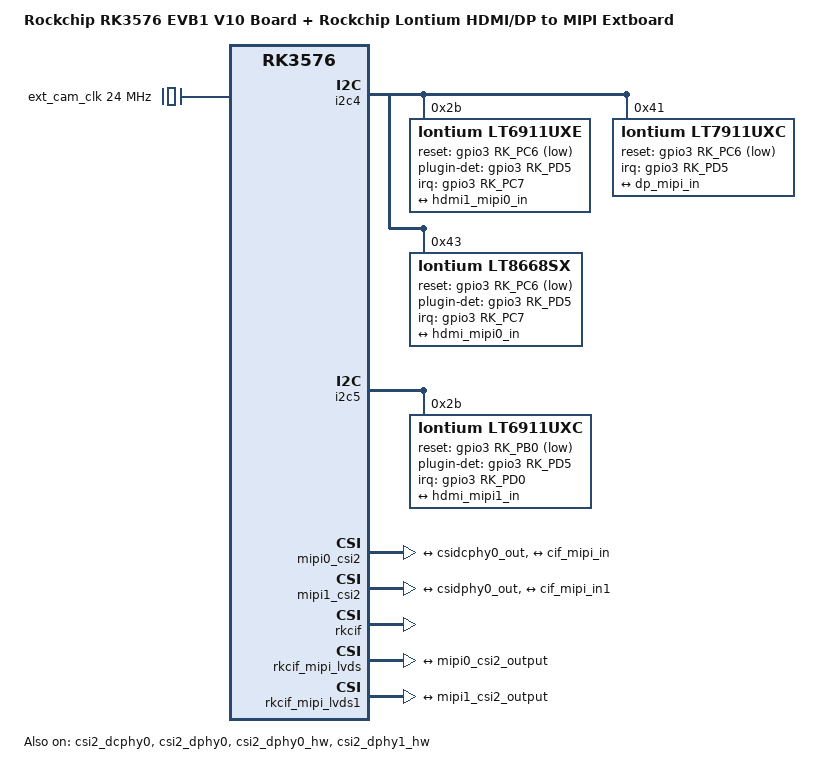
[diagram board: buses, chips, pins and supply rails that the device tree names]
// SPDX-License-Identifier: (GPL-2.0+ OR MIT)
/*
 * Copyright (c) 2024 Rockchip Electronics Co., Ltd.
 *
 */

/dts-v1/;

#include "rk3576.dtsi"
#include "rk3576-evb1.dtsi"
#include "rk3576-android.dtsi"

/ {
	model = "Rockchip RK3576 EVB1 V10 Board + Rockchip Lontium HDMI/DP to MIPI Extboard";
	compatible = "rockchip,rk3576-evb1-v10", "rockchip,rk3576";

	ext_cam_clk: external-camera-clock {
		compatible = "fixed-clock";
		clock-frequency = <24000000>;
		clock-output-names = "CLK_CAMERA_24MHZ";
		#clock-cells = <0>;
	};

	rkvtunnel: rkvtunnel {
		compatible = "rockchip,video-tunnel";
		status = "okay";
	};
};

&csi2_dcphy0 {
	status = "okay";

	ports {
		#address-cells = <1>;
		#size-cells = <0>;
		port@0 {
			reg = <0>;
			#address-cells = <1>;
			#size-cells = <0>;

			dp_mipi_in: endpoint@1 {
				reg = <1>;
				remote-endpoint = <&lt7911uxc_out>;
				data-lanes = <1 2 3 4>;
			};

			hdmi_mipi0_in: endpoint@2 {
				reg = <2>;
				remote-endpoint = <&lt8668sx_out0>;
				data-lanes = <1 2 3>;
			};

			hdmi1_mipi0_in: endpoint@3 {
				reg = <3>;
				remote-endpoint = <&lt6911uxe_out0>;
				data-lanes = <1 2 3 4>;
			};
		};

		port@1 {
			reg = <1>;
			#address-cells = <1>;
			#size-cells = <0>;

			csidcphy0_out: endpoint@0 {
				reg = <0>;
				remote-endpoint = <&mipi0_csi2_input>;
			};
		};
	};
};

&csi2_dphy0 {
	status = "okay";

	ports {
		#address-cells = <1>;
		#size-cells = <0>;
		port@0 {
			reg = <0>;
			#address-cells = <1>;
			#size-cells = <0>;

			hdmi_mipi1_in: endpoint@1 {
				reg = <1>;
				remote-endpoint = <&lt6911uxc_out0>;
				data-lanes = <1 2 3 4>;
			};
		};
		port@1 {
			reg = <1>;
			#address-cells = <1>;
			#size-cells = <0>;

			csidphy0_out: endpoint@0 {
				reg = <0>;
				remote-endpoint = <&mipi1_csi2_input>;
			};
		};
	};
};

&csi2_dphy0_hw {
	status = "okay";
};

&csi2_dphy1_hw {
	status = "okay";
};

&i2c4 {
	status = "okay";
	pinctrl-0 = <&i2c4m3_xfer>;

	lt6911uxe: lt6911uxe@2b {
		compatible = "lontium,lt6911uxe";
		status = "okay";
		reg = <0x2b>;
		clocks = <&ext_cam_clk>;
		clock-names = "xvclk";
		power-domains = <&power RK3576_PD_VI>;
		pinctrl-names = "default";
		pinctrl-0 = <&hdmiin_port0>;
		interrupt-parent = <&gpio3>;
		interrupts = <RK_PC7 IRQ_TYPE_LEVEL_LOW>;
		reset-gpios = <&gpio3 RK_PC6 GPIO_ACTIVE_LOW>;
		// power-gpios = <&gpio1 RK_PA6 GPIO_ACTIVE_HIGH>;
		plugin-det-gpios = <&gpio3 RK_PD5 GPIO_ACTIVE_HIGH>;
		rockchip,camera-module-index = <0>;
		rockchip,camera-module-facing = "back";
		rockchip,camera-module-name = "HDMI-MIPI0";
		rockchip,camera-module-lens-name = "LT6911UXE";

		port {
			lt6911uxe_out0: endpoint {
				remote-endpoint = <&hdmi1_mipi0_in>;
				data-lanes = <1 2 3 4>;
			};
		};
	};

	lt7911uxc: lt7911uxc@41 {
		compatible = "lontium,lt7911uxc";
		status = "okay";
		reg = <0x41>;
		clocks = <&ext_cam_clk>;
		clock-names = "xvclk";
		power-domains = <&power RK3576_PD_VI>;
		pinctrl-names = "default";
		pinctrl-0 = <&hdmiin_port0>;
		interrupt-parent = <&gpio3>;
		interrupts = <RK_PD5 IRQ_TYPE_EDGE_RISING>;
		reset-gpios = <&gpio3 RK_PC6 GPIO_ACTIVE_LOW>;
		// power-gpios = <&gpio1 RK_PA6 GPIO_ACTIVE_HIGH>;
		// plugin-det-gpios = <&gpio0 RK_PD6 GPIO_ACTIVE_LOW>;
		rockchip,camera-module-index = <0>;
		rockchip,camera-module-facing = "back";
		rockchip,camera-module-name = "HDMI-MIPI0";
		rockchip,camera-module-lens-name = "LT7911UXC";

		port {
			lt7911uxc_out: endpoint {
				remote-endpoint = <&dp_mipi_in>;
				// bus-type = <1>;//CPHY: 1, DPHY: 4 or default
				data-lanes = <1 2 3 4>;
			};
		};
	};

	lt8668sx: lt8668sx@43 {
		compatible = "lontium,lt8668sx";
		status = "okay";
		reg = <0x43>;
		clocks = <&ext_cam_clk>;
		clock-names = "xvclk";
		power-domains = <&power RK3576_PD_VI>;
		pinctrl-names = "default";
		pinctrl-0 = <&hdmiin_port0>;
		interrupt-parent = <&gpio3>;
		interrupts = <RK_PC7 IRQ_TYPE_EDGE_RISING>;
		reset-gpios = <&gpio3 RK_PC6 GPIO_ACTIVE_LOW>;
		// power-gpios = <&gpio1 RK_PA6 GPIO_ACTIVE_HIGH>;
		plugin-det-gpios = <&gpio3 RK_PD5 GPIO_ACTIVE_HIGH>;
		rockchip,camera-module-index = <0>;
		rockchip,camera-module-facing = "back";
		rockchip,camera-module-name = "HDMI-MIPI0";
		rockchip,camera-module-lens-name = "LT8668SX";
		// output-rgb = <1>;

		port {
			lt8668sx_out0: endpoint {
				remote-endpoint = <&hdmi_mipi0_in>;
				bus-type = <1>;//CPHY: 1, DPHY: 4 or default
				data-lanes = <1 2 3>;//CPHY: 3trios DPHY: 4lanes
			};
		};
	};
};

&i2c5 {
	status = "okay";
	pinctrl-0 = <&i2c5m3_xfer>;

	lt6911uxc: lt6911uxc@2b {
		compatible = "lontium,lt6911uxc";
		status = "okay";
		reg = <0x2b>;
		clocks = <&ext_cam_clk>;
		clock-names = "xvclk";
		power-domains = <&power RK3576_PD_VI>;
		pinctrl-names = "default";
		pinctrl-0 = <&hdmiin_port1>;
		interrupt-parent = <&gpio3>;
		interrupts = <RK_PD0 IRQ_TYPE_LEVEL_LOW>;
		reset-gpios = <&gpio3 RK_PB0 GPIO_ACTIVE_LOW>;
		// power-gpios = <&gpio1 RK_PA6 GPIO_ACTIVE_HIGH>;
		plugin-det-gpios = <&gpio3 RK_PD5 GPIO_ACTIVE_HIGH>;
		rockchip,camera-module-index = <0>;
		rockchip,camera-module-facing = "back";
		rockchip,camera-module-name = "HDMI-MIPI1";
		rockchip,camera-module-lens-name = "LT6911UXC";

		multi-dev-info {
			dev-idx-l = <1>;
			dev-idx-r = <3>;
			combine-idx = <3>;
			pixel-offset = <0>;
			dev-num = <2>;
		};

		port {
			lt6911uxc_out0: endpoint {
				remote-endpoint = <&hdmi_mipi1_in>;
				data-lanes = <1 2 3 4>;
			};
		};
	};
};

&mipi0_csi2 {
	status = "okay";

	ports {
		#address-cells = <1>;
		#size-cells = <0>;

		port@0 {
			reg = <0>;
			#address-cells = <1>;
			#size-cells = <0>;

			mipi0_csi2_input: endpoint@1 {
				reg = <1>;
				remote-endpoint = <&csidcphy0_out>;
			};
		};

		port@1 {
			reg = <1>;
			#address-cells = <1>;
			#size-cells = <0>;

			mipi0_csi2_output: endpoint@0 {
				reg = <0>;
				remote-endpoint = <&cif_mipi_in>;
			};
		};
	};
};

&mipi1_csi2 {
	status = "okay";

	ports {
		#address-cells = <1>;
		#size-cells = <0>;

		port@0 {
			reg = <0>;
			#address-cells = <1>;
			#size-cells = <0>;

			mipi1_csi2_input: endpoint@1 {
				reg = <1>;
				remote-endpoint = <&csidphy0_out>;
			};
		};

		port@1 {
			reg = <1>;
			#address-cells = <1>;
			#size-cells = <0>;

			mipi1_csi2_output: endpoint@0 {
				reg = <0>;
				remote-endpoint = <&cif_mipi_in1>;
			};
		};
	};
};

&rkcif {
	status = "okay";
};

&rkcif_mipi_lvds {
	status = "okay";

	port {
		cif_mipi_in: endpoint {
			remote-endpoint = <&mipi0_csi2_output>;
		};
	};
};

&rkcif_mipi_lvds1 {
	status = "okay";

	port {
		cif_mipi_in1: endpoint {
			remote-endpoint = <&mipi1_csi2_output>;
		};
	};
};

&rkcif_mmu {
	status = "okay";
};

&vcc_mipicsi0 {
	/delete-property/ gpio;
	/delete-property/ pinctrl-0;
};

&vcc_mipicsi1 {
	/delete-property/ gpio;
	/delete-property/ pinctrl-0;
};

&vcc_mipidcphy0 {
	/delete-property/ gpio;
	/delete-property/ pinctrl-0;
};

&pinctrl {
	hdmiin {
		hdmiin_port0: hdmiin-port0 {
			rockchip,pins = <3 RK_PC6 RK_FUNC_GPIO &pcfg_pull_none>,
					<3 RK_PC7 RK_FUNC_GPIO &pcfg_pull_none>,
					<3 RK_PD5 RK_FUNC_GPIO &pcfg_pull_none>;
		};
		hdmiin_port1: hdmiin-port1 {
			rockchip,pins = <3 RK_PB0 RK_FUNC_GPIO &pcfg_pull_none>,
					<3 RK_PD0 RK_FUNC_GPIO &pcfg_pull_none>,
					<3 RK_PD5 RK_FUNC_GPIO &pcfg_pull_none>;
		};
	};
};
